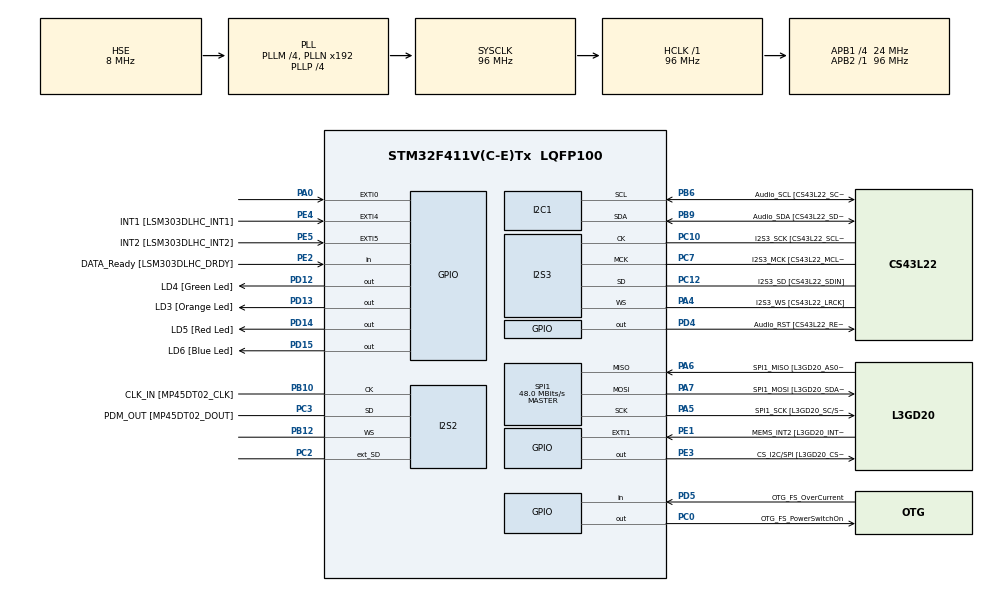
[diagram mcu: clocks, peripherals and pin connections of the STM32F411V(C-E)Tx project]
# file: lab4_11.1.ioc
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FREERTOS.BinarySemaphores01=CriticalSemaphore,Dynamic,NULL
FREERTOS.Mutexes01=CriticalMutexResources,Dynamic,NULL
FREERTOS.Tasks01=defaultTask,0,128,StartDefaultTask,Default,NULL,Dynamic,NULL,NULL;GreenTask,0,128,StartGreenTask,Default,NULL,Dynamic,NULL,NULL;RedTask,2,128,StartRedTask,Default,NULL,Dynamic,NULL,NULL;OrangeTask,1,128,StartOrangeTask,Default,NULL,Dynamic,NULL,NULL
I2S2.AudioFreq=I2S_AUDIOFREQ_96K
I2S2.ErrorAudioFreq=0.15 %
I2S2.FullDuplexMode=I2S_FULLDUPLEXMODE_ENABLE
I2S2.Instance=SPI$Index
I2S2.RealAudioFreq=96.153 KHz
I2S2.VirtualMode=I2S_MODE_MASTER
I2S3.AudioFreq=I2S_AUDIOFREQ_96K
I2S3.ErrorAudioFreq=-6.99 %
I2S3.FullDuplexMode=I2S_FULLDUPLEXMODE_DISABLE
I2S3.Instance=SPI$Index
I2S3.RealAudioFreq=89.285 KHz
I2S3.VirtualMode=I2S_MODE_MASTER
Mcu.Family=STM32F4
Mcu.Name=STM32F411V(C-E)Tx
Mcu.Package=LQFP100
NVIC.PriorityGroup=NVIC_PRIORITYGROUP_4
NVIC.TIM1_UP_TIM10_IRQn=true\:0\:0\:false\:false\:true\:false\:false\:true
NVIC.TimeBase=TIM1_UP_TIM10_IRQn
NVIC.TimeBaseIP=TIM1
PA0-WKUP.GPIO_ModeDefaultEXTI=GPIO_MODE_EVT_RISING
PA0-WKUP.Signal=GPXTI0
PA10.GPIO_Label=OTG_FS_ID
PA10.Signal=USB_OTG_FS_ID
PA11.GPIO_Label=OTG_FS_DM
PA11.Signal=USB_OTG_FS_DM
PA12.GPIO_Label=OTG_FS_DP
PA12.Signal=USB_OTG_FS_DP
PA13.GPIO_Label=SWDIO
PA13.Signal=SYS_JTMS-SWDIO
PA14.GPIO_Label=SWCLK
PA14.Signal=SYS_JTCK-SWCLK
PA4.GPIO_Label=I2S3_WS [CS43L22_LRCK]
PA4.GPIO_Mode=GPIO_MODE_AF_PP
PA4.GPIO_PuPd=GPIO_NOPULL
PA4.GPIO_Speed=GPIO_SPEED_FREQ_LOW
PA4.Mode=Half_Duplex_Master
PA4.Signal=I2S3_WS
PA5.GPIO_Label=SPI1_SCK [L3GD20_SC/SPC]
PA5.Mode=Full_Duplex_Master
PA5.Signal=SPI1_SCK
PA6.GPIO_Label=SPI1_MISO [L3GD20_AS0/SDO]
PA6.Mode=Full_Duplex_Master
PA6.Signal=SPI1_MISO
PA7.GPIO_Label=SPI1_MOSI [L3GD20_SDA/SDI/SDO]
PA7.Mode=Full_Duplex_Master
PA7.Signal=SPI1_MOSI
PA9.GPIO_Label=VBUS_FS
PA9.Signal=USB_OTG_FS_VBUS
PB10.GPIO_Label=CLK_IN [MP45DT02_CLK]
PB10.Mode=Full_Duplex_Master
PB10.Signal=I2S2_CK
PB12.Mode=Full_Duplex_Master
PB12.Signal=I2S2_WS
PB3.GPIO_Label=SWO
PB3.Signal=SYS_JTDO-SWO
PB6.GPIO_Label=Audio_SCL [CS43L22_SCL]
PB6.GPIO_Mode=GPIO_MODE_AF_OD
PB6.GPIO_PuPd=GPIO_NOPULL
PB6.GPIO_Speed=GPIO_SPEED_FREQ_LOW
PB6.Mode=I2C
PB6.Signal=I2C1_SCL
PB9.GPIO_Label=Audio_SDA [CS43L22_SDA]
PB9.GPIO_Mode=GPIO_MODE_AF_OD
PB9.GPIO_PuPd=GPIO_NOPULL
PB9.GPIO_Speed=GPIO_SPEED_FREQ_LOW
PB9.Mode=I2C
PB9.Signal=I2C1_SDA
PC0.GPIO_Label=OTG_FS_PowerSwitchOn
PC0.PinState=GPIO_PIN_SET
PC0.Signal=GPIO_Output
PC10.GPIO_Label=I2S3_SCK [CS43L22_SCLK]
PC10.GPIO_Mode=GPIO_MODE_AF_PP
PC10.GPIO_PuPd=GPIO_NOPULL
PC10.GPIO_Speed=GPIO_SPEED_FREQ_LOW
PC10.Mode=Half_Duplex_Master
PC10.Signal=I2S3_CK
PC12.GPIO_Label=I2S3_SD [CS43L22_SDIN]
PC12.GPIO_Mode=GPIO_MODE_AF_PP
PC12.GPIO_PuPd=GPIO_NOPULL
PC12.GPIO_Speed=GPIO_SPEED_FREQ_LOW
PC12.Mode=Half_Duplex_Master
PC12.Signal=I2S3_SD
PC14-OSC32_IN.GPIO_Label=PC14-OSC32_IN
PC14-OSC32_IN.Mode=LSE-External-Oscillator
PC14-OSC32_IN.Signal=RCC_OSC32_IN
PC15-OSC32_OUT.GPIO_Label=PC15-OSC32_OUT
PC15-OSC32_OUT.Mode=LSE-External-Oscillator
PC15-OSC32_OUT.Signal=RCC_OSC32_OUT
PC2.Mode=Full_Duplex_Master
PC2.Signal=I2S2_ext_SD
PC3.GPIO_Label=PDM_OUT [MP45DT02_DOUT]
PC3.Mode=Full_Duplex_Master
PC3.Signal=I2S2_SD
PC7.GPIO_Label=I2S3_MCK [CS43L22_MCLK]
PC7.GPIO_Mode=GPIO_MODE_AF_PP
PC7.GPIO_PuPd=GPIO_NOPULL
PC7.GPIO_Speed=GPIO_SPEED_FREQ_LOW
PC7.Mode=Master_Clock_Activated
PC7.Signal=I2S3_MCK
PD12.GPIO_Label=LD4 [Green Led]
PD12.GPIO_PuPd=GPIO_NOPULL
PD12.GPIO_Speed=GPIO_SPEED_FREQ_LOW
PD12.Signal=GPIO_Output
PD13.GPIO_Label=LD3 [Orange Led]
PD13.GPIO_PuPd=GPIO_NOPULL
PD13.GPIO_Speed=GPIO_SPEED_FREQ_LOW
PD13.Signal=GPIO_Output
PD14.GPIO_Label=LD5 [Red Led]
PD14.GPIO_PuPd=GPIO_NOPULL
PD14.GPIO_Speed=GPIO_SPEED_FREQ_LOW
PD14.Signal=GPIO_Output
PD15.GPIO_Label=LD6 [Blue Led]
PD15.GPIO_PuPd=GPIO_NOPULL
PD15.GPIO_Speed=GPIO_SPEED_FREQ_LOW
PD15.Signal=GPIO_Output
PD4.GPIO_Label=Audio_RST [CS43L22_RESET]
PD4.Signal=GPIO_Output
PD5.GPIO_Label=OTG_FS_OverCurrent
PD5.Signal=GPIO_Input
PE1.GPIO_Label=MEMS_INT2 [L3GD20_INT2]
PE1.GPIO_ModeDefaultEXTI=GPIO_MODE_EVT_RISING
PE1.Signal=GPXTI1
PE2.GPIO_Label=DATA_Ready [LSM303DLHC_DRDY]
PE2.Signal=GPIO_Input
PE3.GPIO_Label=CS_I2C/SPI [L3GD20_CS_I2C/SPI]
PE3.Signal=GPIO_Output
PE4.GPIO_Label=INT1 [LSM303DLHC_INT1]
PE4.GPIO_ModeDefaultEXTI=GPIO_MODE_EVT_RISING
PE4.Signal=GPXTI4
PE5.GPIO_Label=INT2 [LSM303DLHC_INT2]
PE5.GPIO_ModeDefaultEXTI=GPIO_MODE_EVT_RISING
PE5.Signal=GPXTI5
PH0\ -\ OSC_IN.GPIO_Label=PH0-OSC_IN
PH0\ -\ OSC_IN.Mode=HSE-External-Oscillator
PH0\ -\ OSC_IN.Signal=RCC_OSC_IN
PH1\ -\ OSC_OUT.GPIO_Label=PH1-OSC_OUT
PH1\ -\ OSC_OUT.Mode=HSE-External-Oscillator
PH1\ -\ OSC_OUT.Signal=RCC_OSC_OUT
ProjectManager.HeapSize=0x200
ProjectManager.StackSize=0x400
ProjectManager.TargetToolchain=STM32CubeIDE
RCC.48MHZClocksFreq_Value=48000000
RCC.AHBFreq_Value=96000000
RCC.APB1CLKDivider=RCC_HCLK_DIV4
RCC.APB1Freq_Value=24000000
RCC.APB1TimFreq_Value=48000000
RCC.APB2Freq_Value=96000000
RCC.APB2TimFreq_Value=96000000
RCC.CortexFreq_Value=96000000
RCC.HCLKFreq_Value=96000000
RCC.HSE_VALUE=8000000
RCC.HSI_VALUE=16000000
RCC.PLLI2SM=5
RCC.PLLI2SN=200
RCC.PLLM=4
RCC.PLLP=RCC_PLLP_DIV4
RCC.PLLQ=8
RCC.PLLSourceVirtual=RCC_PLLSOURCE_HSE
RCC.SYSCLKFreq_VALUE=96000000
RCC.SYSCLKSource=RCC_SYSCLKSOURCE_PLLCLK
RCC.VCOOutputFreq_Value=384000000
SPI1.BaudRatePrescaler=SPI_BAUDRATEPRESCALER_2
SPI1.CalculateBaudRate=48.0 MBits/s
SPI1.Direction=SPI_DIRECTION_2LINES
SPI1.Mode=SPI_MODE_MASTER
SPI1.VirtualType=VM_MASTER
VP_FREERTOS_VS_CMSIS_V1.Mode=CMSIS_V1
VP_SYS_VS_tim1.Mode=TIM1
board=STM32F411E-DISCO

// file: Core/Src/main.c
/* USER CODE BEGIN Header */
/**
  ******************************************************************************
  * @file           : main.c
  * @brief          : Main program body
  ******************************************************************************
  * @attention
  *
  * <h2><center>&copy; Copyright (c) 2024 STMicroelectronics.
  * All rights reserved.</center></h2>
  *
  * This software component is licensed by ST under Ultimate Liberty license
  * SLA0044, the "License"; You may not use this file except in compliance with
  * the License. You may obtain a copy of the License at:
  *                             www.st.com/SLA0044
  *
  ******************************************************************************
  */
/* USER CODE END Header */

#include "main.h"
#include "cmsis_os.h"

I2C_HandleTypeDef hi2c1;

I2S_HandleTypeDef hi2s2;
I2S_HandleTypeDef hi2s3;

SPI_HandleTypeDef hspi1;

osThreadId defaultTaskHandle;
osThreadId GreenTaskHandle;
osThreadId RedTaskHandle;
osThreadId OrangeTaskHandle;
osMutexId CriticalMutexResourcesHandle;
osSemaphoreId CriticalSemaphoreHandle;

void SystemClock_Config(void);
static void MX_GPIO_Init(void);
static void MX_I2C1_Init(void);
static void MX_I2S2_Init(void);
static void MX_I2S3_Init(void);
static void MX_SPI1_Init(void);
void StartDefaultTask(void const * argument);
void StartGreenTask(void const * argument);
void StartRedTask(void const * argument);
void StartOrangeTask(void const * argument);

int main(void)
{

  /* MCU Configuration--------------------------------------------------------*/

  /* Reset of all peripherals, Initializes the Flash interface and the Systick. */
  HAL_Init();

  /* Configure the system clock */
  SystemClock_Config();

  /* Initialize all configured peripherals */
  MX_GPIO_Init();
  MX_I2C1_Init();
  MX_I2S2_Init();
  MX_I2S3_Init();
  MX_SPI1_Init();

  /* Create the mutex(es) */
  /* definition and creation of CriticalMutexResources */
  osMutexDef(CriticalMutexResources);
  CriticalMutexResourcesHandle = osMutexCreate(osMutex(CriticalMutexResources));

  /* Create the semaphores(s) */
  /* definition and creation of CriticalSemaphore */
  osSemaphoreDef(CriticalSemaphore);
  CriticalSemaphoreHandle = osSemaphoreCreate(osSemaphore(CriticalSemaphore), 1);

  /* Create the thread(s) */
  /* definition and creation of defaultTask */
  osThreadDef(defaultTask, StartDefaultTask, osPriorityNormal, 0, 128);
  defaultTaskHandle = osThreadCreate(osThread(defaultTask), NULL);

  /* definition and creation of GreenTask */
  osThreadDef(GreenTask, StartGreenTask, osPriorityNormal, 0, 128);
  GreenTaskHandle = osThreadCreate(osThread(GreenTask), NULL);

  /* definition and creation of RedTask */
  osThreadDef(RedTask, StartRedTask, osPriorityHigh, 0, 128);
  RedTaskHandle = osThreadCreate(osThread(RedTask), NULL);

  /* definition and creation of OrangeTask */
  osThreadDef(OrangeTask, StartOrangeTask, osPriorityAboveNormal, 0, 128);
  OrangeTaskHandle = osThreadCreate(osThread(OrangeTask), NULL);

  /* Start scheduler */
  osKernelStart();

  /* We should never get here as control is now taken by the scheduler */

  /* Infinite loop */
  while (1)
  {

  }
}

void SystemClock_Config(void)
{
  RCC_OscInitTypeDef RCC_OscInitStruct = {0};
  RCC_ClkInitTypeDef RCC_ClkInitStruct = {0};
  RCC_PeriphCLKInitTypeDef PeriphClkInitStruct = {0};

  /** Configure the main internal regulator output voltage
  */
  __HAL_RCC_PWR_CLK_ENABLE();
  __HAL_PWR_VOLTAGESCALING_CONFIG(PWR_REGULATOR_VOLTAGE_SCALE1);
  /** Initializes the CPU, AHB and APB busses clocks
  */
  RCC_OscInitStruct.OscillatorType = RCC_OSCILLATORTYPE_HSE;
  RCC_OscInitStruct.HSEState = RCC_HSE_ON;
  RCC_OscInitStruct.PLL.PLLState = RCC_PLL_ON;
  RCC_OscInitStruct.PLL.PLLSource = RCC_PLLSOURCE_HSE;
  RCC_OscInitStruct.PLL.PLLM = 4;
  RCC_OscInitStruct.PLL.PLLN = 192;
  RCC_OscInitStruct.PLL.PLLP = RCC_PLLP_DIV4;
  RCC_OscInitStruct.PLL.PLLQ = 8;
  if (HAL_RCC_OscConfig(&RCC_OscInitStruct) != HAL_OK)
  {
    Error_Handler();
  }
  /** Initializes the CPU, AHB and APB busses clocks
  */
  RCC_ClkInitStruct.ClockType = RCC_CLOCKTYPE_HCLK|RCC_CLOCKTYPE_SYSCLK
                              |RCC_CLOCKTYPE_PCLK1|RCC_CLOCKTYPE_PCLK2;
  RCC_ClkInitStruct.SYSCLKSource = RCC_SYSCLKSOURCE_PLLCLK;
  RCC_ClkInitStruct.AHBCLKDivider = RCC_SYSCLK_DIV1;
  RCC_ClkInitStruct.APB1CLKDivider = RCC_HCLK_DIV4;
  RCC_ClkInitStruct.APB2CLKDivider = RCC_HCLK_DIV1;

  if (HAL_RCC_ClockConfig(&RCC_ClkInitStruct, FLASH_LATENCY_3) != HAL_OK)
  {
    Error_Handler();
  }
  PeriphClkInitStruct.PeriphClockSelection = RCC_PERIPHCLK_I2S;
  PeriphClkInitStruct.PLLI2S.PLLI2SN = 200;
  PeriphClkInitStruct.PLLI2S.PLLI2SM = 5;
  PeriphClkInitStruct.PLLI2S.PLLI2SR = 2;
  if (HAL_RCCEx_PeriphCLKConfig(&PeriphClkInitStruct) != HAL_OK)
  {
    Error_Handler();
  }
}

static void MX_I2C1_Init(void)
{

  hi2c1.Instance = I2C1;
  hi2c1.Init.ClockSpeed = 100000;
  hi2c1.Init.DutyCycle = I2C_DUTYCYCLE_2;
  hi2c1.Init.OwnAddress1 = 0;
  hi2c1.Init.AddressingMode = I2C_ADDRESSINGMODE_7BIT;
  hi2c1.Init.DualAddressMode = I2C_DUALADDRESS_DISABLE;
  hi2c1.Init.OwnAddress2 = 0;
  hi2c1.Init.GeneralCallMode = I2C_GENERALCALL_DISABLE;
  hi2c1.Init.NoStretchMode = I2C_NOSTRETCH_DISABLE;
  if (HAL_I2C_Init(&hi2c1) != HAL_OK)
  {
    Error_Handler();
  }

}

static void MX_I2S2_Init(void)
{

  hi2s2.Instance = SPI2;
  hi2s2.Init.Mode = I2S_MODE_MASTER_TX;
  hi2s2.Init.Standard = I2S_STANDARD_PHILIPS;
  hi2s2.Init.DataFormat = I2S_DATAFORMAT_16B;
  hi2s2.Init.MCLKOutput = I2S_MCLKOUTPUT_DISABLE;
  hi2s2.Init.AudioFreq = I2S_AUDIOFREQ_96K;
  hi2s2.Init.CPOL = I2S_CPOL_LOW;
  hi2s2.Init.ClockSource = I2S_CLOCK_PLL;
  hi2s2.Init.FullDuplexMode = I2S_FULLDUPLEXMODE_ENABLE;
  if (HAL_I2S_Init(&hi2s2) != HAL_OK)
  {
    Error_Handler();
  }

}

static void MX_I2S3_Init(void)
{

  hi2s3.Instance = SPI3;
  hi2s3.Init.Mode = I2S_MODE_MASTER_TX;
  hi2s3.Init.Standard = I2S_STANDARD_PHILIPS;
  hi2s3.Init.DataFormat = I2S_DATAFORMAT_16B;
  hi2s3.Init.MCLKOutput = I2S_MCLKOUTPUT_ENABLE;
  hi2s3.Init.AudioFreq = I2S_AUDIOFREQ_96K;
  hi2s3.Init.CPOL = I2S_CPOL_LOW;
  hi2s3.Init.ClockSource = I2S_CLOCK_PLL;
  hi2s3.Init.FullDuplexMode = I2S_FULLDUPLEXMODE_DISABLE;
  if (HAL_I2S_Init(&hi2s3) != HAL_OK)
  {
    Error_Handler();
  }

}

static void MX_SPI1_Init(void)
{

  /* SPI1 parameter configuration*/
  hspi1.Instance = SPI1;
  hspi1.Init.Mode = SPI_MODE_MASTER;
  hspi1.Init.Direction = SPI_DIRECTION_2LINES;
  hspi1.Init.DataSize = SPI_DATASIZE_8BIT;
  hspi1.Init.CLKPolarity = SPI_POLARITY_LOW;
  hspi1.Init.CLKPhase = SPI_PHASE_1EDGE;
  hspi1.Init.NSS = SPI_NSS_SOFT;
  hspi1.Init.BaudRatePrescaler = SPI_BAUDRATEPRESCALER_2;
  hspi1.Init.FirstBit = SPI_FIRSTBIT_MSB;
  hspi1.Init.TIMode = SPI_TIMODE_DISABLE;
  hspi1.Init.CRCCalculation = SPI_CRCCALCULATION_DISABLE;
  hspi1.Init.CRCPolynomial = 10;
  if (HAL_SPI_Init(&hspi1) != HAL_OK)
  {
    Error_Handler();
  }

}

static void MX_GPIO_Init(void)
{
  GPIO_InitTypeDef GPIO_InitStruct = {0};

  /* GPIO Ports Clock Enable */
  __HAL_RCC_GPIOE_CLK_ENABLE();
  __HAL_RCC_GPIOC_CLK_ENABLE();
  __HAL_RCC_GPIOH_CLK_ENABLE();
  __HAL_RCC_GPIOA_CLK_ENABLE();
  __HAL_RCC_GPIOB_CLK_ENABLE();
  __HAL_RCC_GPIOD_CLK_ENABLE();

  /*Configure GPIO pin Output Level */
  HAL_GPIO_WritePin(CS_I2C_SPI_GPIO_Port, CS_I2C_SPI_Pin, GPIO_PIN_RESET);

  /*Configure GPIO pin Output Level */
  HAL_GPIO_WritePin(OTG_FS_PowerSwitchOn_GPIO_Port, OTG_FS_PowerSwitchOn_Pin, GPIO_PIN_SET);

  /*Configure GPIO pin Output Level */
  HAL_GPIO_WritePin(GPIOD, LD4_Pin|LD3_Pin|LD5_Pin|LD6_Pin
                          |Audio_RST_Pin, GPIO_PIN_RESET);

  /*Configure GPIO pin : DATA_Ready_Pin */
  GPIO_InitStruct.Pin = DATA_Ready_Pin;
  GPIO_InitStruct.Mode = GPIO_MODE_INPUT;
  GPIO_InitStruct.Pull = GPIO_NOPULL;
  HAL_GPIO_Init(DATA_Ready_GPIO_Port, &GPIO_InitStruct);

  /*Configure GPIO pin : CS_I2C_SPI_Pin */
  GPIO_InitStruct.Pin = CS_I2C_SPI_Pin;
  GPIO_InitStruct.Mode = GPIO_MODE_OUTPUT_PP;
  GPIO_InitStruct.Pull = GPIO_NOPULL;
  GPIO_InitStruct.Speed = GPIO_SPEED_FREQ_LOW;
  HAL_GPIO_Init(CS_I2C_SPI_GPIO_Port, &GPIO_InitStruct);

  /*Configure GPIO pins : INT1_Pin INT2_Pin MEMS_INT2_Pin */
  GPIO_InitStruct.Pin = INT1_Pin|INT2_Pin|MEMS_INT2_Pin;
  GPIO_InitStruct.Mode = GPIO_MODE_EVT_RISING;
  GPIO_InitStruct.Pull = GPIO_NOPULL;
  HAL_GPIO_Init(GPIOE, &GPIO_InitStruct);

  /*Configure GPIO pin : OTG_FS_PowerSwitchOn_Pin */
  GPIO_InitStruct.Pin = OTG_FS_PowerSwitchOn_Pin;
  GPIO_InitStruct.Mode = GPIO_MODE_OUTPUT_PP;
  GPIO_InitStruct.Pull = GPIO_NOPULL;
  GPIO_InitStruct.Speed = GPIO_SPEED_FREQ_LOW;
  HAL_GPIO_Init(OTG_FS_PowerSwitchOn_GPIO_Port, &GPIO_InitStruct);

  /*Configure GPIO pin : PA0 */
  GPIO_InitStruct.Pin = GPIO_PIN_0;
  GPIO_InitStruct.Mode = GPIO_MODE_EVT_RISING;
  GPIO_InitStruct.Pull = GPIO_NOPULL;
  HAL_GPIO_Init(GPIOA, &GPIO_InitStruct);

  /*Configure GPIO pins : LD4_Pin LD3_Pin LD5_Pin LD6_Pin
                           Audio_RST_Pin */
  GPIO_InitStruct.Pin = LD4_Pin|LD3_Pin|LD5_Pin|LD6_Pin
                          |Audio_RST_Pin;
  GPIO_InitStruct.Mode = GPIO_MODE_OUTPUT_PP;
  GPIO_InitStruct.Pull = GPIO_NOPULL;
  GPIO_InitStruct.Speed = GPIO_SPEED_FREQ_LOW;
  HAL_GPIO_Init(GPIOD, &GPIO_InitStruct);

  /*Configure GPIO pin : VBUS_FS_Pin */
  GPIO_InitStruct.Pin = VBUS_FS_Pin;
  GPIO_InitStruct.Mode = GPIO_MODE_INPUT;
  GPIO_InitStruct.Pull = GPIO_NOPULL;
  HAL_GPIO_Init(VBUS_FS_GPIO_Port, &GPIO_InitStruct);

  /*Configure GPIO pins : OTG_FS_ID_Pin OTG_FS_DM_Pin OTG_FS_DP_Pin */
  GPIO_InitStruct.Pin = OTG_FS_ID_Pin|OTG_FS_DM_Pin|OTG_FS_DP_Pin;
  GPIO_InitStruct.Mode = GPIO_MODE_AF_PP;
  GPIO_InitStruct.Pull = GPIO_NOPULL;
  GPIO_InitStruct.Speed = GPIO_SPEED_FREQ_VERY_HIGH;
  GPIO_InitStruct.Alternate = GPIO_AF10_OTG_FS;
  HAL_GPIO_Init(GPIOA, &GPIO_InitStruct);

  /*Configure GPIO pin : OTG_FS_OverCurrent_Pin */
  GPIO_InitStruct.Pin = OTG_FS_OverCurrent_Pin;
  GPIO_InitStruct.Mode = GPIO_MODE_INPUT;
  GPIO_InitStruct.Pull = GPIO_NOPULL;
  HAL_GPIO_Init(OTG_FS_OverCurrent_GPIO_Port, &GPIO_InitStruct);

}

/* USER CODE BEGIN 4 */
void StartAccessSoftware()
{
	int startFlag = 0;
	//osSemaphoreWait(CriticalSemaphoreHandle, osWaitForever);//wait until semaphore available
	osMutexWait(CriticalMutexResourcesHandle, osWaitForever);
	if(startFlag == 1)
	{
		startFlag = 0;
	}
	else
	{
		for(int i = 0; i <= 20; i++)
		{
			HAL_GPIO_WritePin(GPIOD, LD6_Pin, GPIO_PIN_SET);
			for(int j = 0; j<375000;j++);
			HAL_GPIO_WritePin(GPIOD, LD6_Pin, GPIO_PIN_RESET);
			for(int j = 0; j<375000;j++);
		}
		//HAL_GPIO_TogglePin(GPIOD, LD6_Pin);//Toggel Blue LED
	}
    //for(int i = 0; i < 2000000; i++);//Delay ~0.5 sec
    startFlag = 1;
    //osSemaphoreRelease(CriticalSemaphoreHandle);//once done release it so other tasks can use it
    osMutexRelease(CriticalMutexResourcesHandle);
    return;

}
/* USER CODE END 4 */

void StartDefaultTask(void const * argument)
{
  for(;;)
  {
    osDelay(1);
  }
}

void StartGreenTask(void const * argument)
{
  /* USER CODE BEGIN StartGreenTask */
  /* Infinite loop */
  for(;;)
  {
	  StartAccessSoftware();
		for(int i = 0; i <= 40; i++)
		{
			HAL_GPIO_WritePin(GPIOD, LD4_Pin, GPIO_PIN_SET);//Green LED ON
			for(int j = 0; j<375000;j++);
			HAL_GPIO_WritePin(GPIOD, LD4_Pin, GPIO_PIN_RESET);//Green LED OFF
			for(int j = 0; j<375000;j++);
		}
	  vTaskSuspend(NULL);
  }
  /* USER CODE END StartGreenTask */
}

void StartRedTask(void const * argument)
{
  /* USER CODE BEGIN StartRedTask */
  /* Infinite loop */
  for(;;)
  {
	  osDelay(1000);
	  StartAccessSoftware();
		for(int i = 0; i <= 40; i++)
		{
			HAL_GPIO_WritePin(GPIOD, LD5_Pin, GPIO_PIN_SET);
			for(int j = 0; j<375000;j++);
			HAL_GPIO_WritePin(GPIOD, LD5_Pin, GPIO_PIN_RESET);
			for(int j = 0; j<375000;j++);
		}
	  vTaskSuspend(NULL);
  }
  /* USER CODE END StartRedTask */
}

void StartOrangeTask(void const * argument)
{
  /* USER CODE BEGIN StartOrangeTask */
  /* Infinite loop */

  for(;;)
  {
	  osDelay(1000);
		for(int i = 0; i <= 40; i++)
		{
			HAL_GPIO_WritePin(GPIOD, LD3_Pin, GPIO_PIN_SET);
			for(int j = 0; j<375000;j++);
			HAL_GPIO_WritePin(GPIOD, LD3_Pin, GPIO_PIN_RESET);
			for(int j = 0; j<375000;j++);
		}
	  vTaskSuspend(NULL);
  }
  /* USER CODE END StartOrangeTask */
}

void HAL_TIM_PeriodElapsedCallback(TIM_HandleTypeDef *htim)
{
  if (htim->Instance == TIM1) {
    HAL_IncTick();
  }
}

void Error_Handler(void)
{
}

/************************ (C) COPYRIGHT STMicroelectronics *****END OF FILE****/
